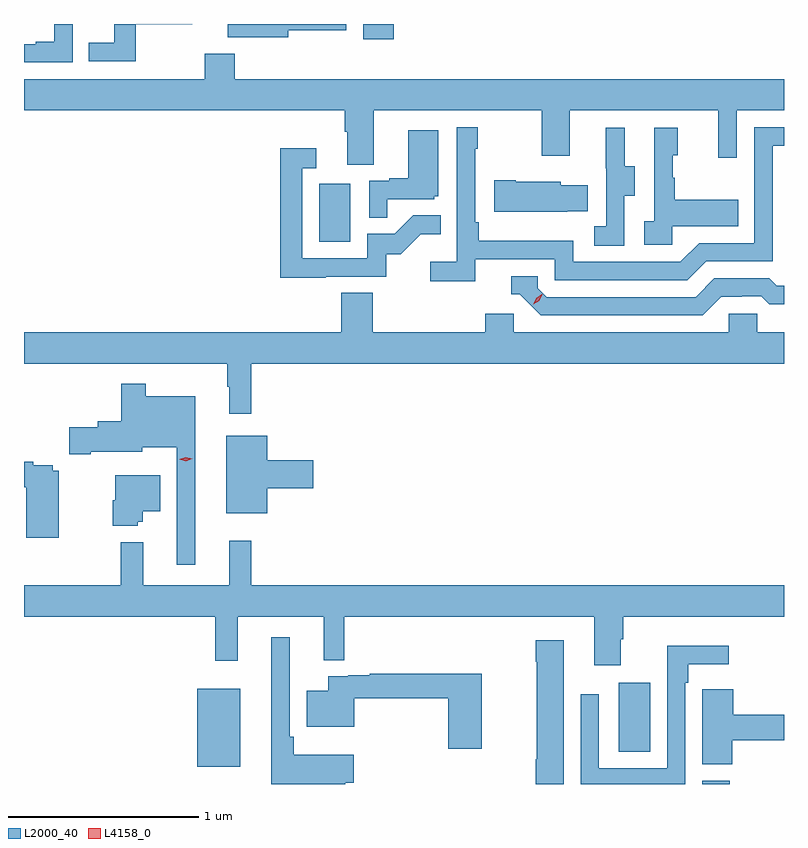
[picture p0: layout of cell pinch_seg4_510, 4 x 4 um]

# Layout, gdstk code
import gdstk
lib = gdstk.Library(unit=1e-6, precision=1e-09)
def R(c, l, rs):  # rectangles x0, y0, x1, y1
    for r in rs: c.add(gdstk.rectangle(r[:2], r[2:], *l))
def P(c, l, *ps):  # polygons
    for p in ps: c.add(gdstk.Polygon(p, *l))
L2000_40 = (2000, 40)
L4158_0 = (4158, 0)

pinch_seg4_510 = lib.new_cell('pinch_seg4_510')
R(pinch_seg4_510, L2000_40, [(1000.28,749.319,1000.424,749.337), (997.622,749.411,997.849,749.821), (999.839,749.488,1000.006,749.851), (998.264,752.172,998.428,752.479), (998.495,753.24,998.656,753.319)])
P(pinch_seg4_510, L2000_40, [(996.966,753.319),(996.869,753.319),(996.869,753.226),(996.773,753.226),(996.773,753.213),(996.71,753.213),(996.71,753.117),(996.966,753.117)],
  [(997.297,753.318),(997.595,753.318),(997.595,753.319),(997.186,753.319),(997.186,753.22),(997.051,753.22),(997.051,753.123),(997.297,753.123)],
  [(998.101,753.286),(998.406,753.286),(998.406,753.319),(997.783,753.319),(997.783,753.248),(998.101,753.248)],
  [(998.551,752.864),(999.436,752.864),(999.436,752.625),(999.583,752.625),(999.583,752.864),(1000.364,752.864),(1000.364,752.616),(1000.461,752.616),(1000.461,752.864),(1000.71,752.864),(1000.71,753.028),(997.82,753.028),(997.82,753.163),(997.66,753.163),(997.66,753.028),(996.71,753.028),(996.71,752.864),(998.399,752.864),(998.399,752.752),(998.411,752.752),(998.411,752.578),(998.551,752.578)],
  [(999.086,752.082),(999.504,752.082),(999.504,751.971),(1000.201,751.971),(1000.3,752.07),(1000.65,752.07),(1000.65,752.679),(1000.71,752.679),(1000.71,752.775),(1000.554,752.775),(1000.554,752.166),(1000.263,752.166),(1000.164,752.067),(999.6,752.067),(999.6,752.179),(999.104,752.179),(999.104,752.275),(999.084,752.275),(999.084,752.663),(999.097,752.663),(999.097,752.776),(998.988,752.776),(998.988,752.068),(998.847,752.068),(998.847,751.966),(999.086,751.966)],
  [(1000.122,752.255),(1000.469,752.255),(1000.469,752.395),(1000.135,752.395),(1000.135,752.51),(1000.125,752.51),(1000.125,752.628),(1000.15,752.628),(1000.15,752.773),(1000.026,752.773),(1000.026,752.282),(999.975,752.282),(999.975,752.157),(1000.122,752.157)],
  [(999.87,752.416),(999.925,752.416),(999.925,752.571),(999.871,752.571),(999.871,752.773),(999.773,752.773),(999.773,752.559),(999.774,752.559),(999.774,752.255),(999.711,752.255),(999.711,752.152),(999.87,752.152)],
  [(998.621,752.397),(998.868,752.397),(998.868,752.412),(998.89,752.412),(998.89,752.761),(998.732,752.761),(998.732,752.506),(998.633,752.506),(998.633,752.493),(998.526,752.493),(998.526,752.299),(998.621,752.299)],
  [(998.297,751.989),(998.616,751.989),(998.616,752.106),(998.692,752.106),(998.799,752.213),(998.903,752.213),(998.903,752.312),(998.759,752.312),(998.661,752.214),(998.517,752.214),(998.517,752.085),(998.175,752.085),(998.175,752.559),(998.248,752.559),(998.248,752.665),(998.059,752.665),(998.059,751.984),(998.297,751.984)],
  [(999.569,752.333),(999.677,752.333),(999.677,752.47),(999.534,752.47),(999.534,752.488),(999.298,752.488),(999.298,752.496),(999.186,752.496),(999.186,752.33),(999.569,752.33)],
  [(1000.381,751.884),(1000.488,751.884),(1000.488,751.887),(1000.591,751.887),(1000.633,751.845),(1000.71,751.845),(1000.71,751.941),(1000.672,751.941),(1000.633,751.98),(1000.344,751.98),(1000.245,751.881),(999.462,751.881),(999.414,751.929),(999.414,751.992),(999.275,751.992),(999.275,751.896),(999.318,751.896),(999.429,751.785),(1000.282,751.785)],
  [(997.907,751.532),(1000.71,751.532),(1000.71,751.696),(1000.569,751.696),(1000.569,751.794),(1000.419,751.794),(1000.419,751.696),(999.288,751.696),(999.288,751.794),(999.137,751.794),(999.137,751.696),(998.546,751.696),(998.546,751.904),(998.381,751.904),(998.381,751.696),(996.71,751.696),(996.71,751.532),(997.779,751.532),(997.779,751.409),(997.79,751.409),(997.79,751.269),(997.907,751.269)],
  [(997.612,751.36),(997.351,751.36),(997.351,751.426),(997.222,751.426),(997.222,751.227),(997.097,751.227),(997.097,751.197),(996.948,751.197),(996.948,751.055),(997.06,751.055),(997.06,751.067),(997.332,751.067),(997.332,751.091),(997.515,751.091),(997.515,750.474),(997.612,750.474)],
  [(997.99,750.875),(998.233,750.875),(998.233,751.022),(997.99,751.022),(997.99,751.153),(997.775,751.153),(997.775,750.743),(997.99,750.743)],
  [(996.892,750.967),(996.862,750.967),(996.862,750.996),(996.758,750.996),(996.758,751.016),(996.71,751.016),(996.71,750.88),(996.722,750.88),(996.722,750.615),(996.892,750.615)],
  [(997.308,750.699),(997.336,750.699),(997.336,750.755),(997.426,750.755),(997.426,750.943),(997.19,750.943),(997.19,750.813),(997.178,750.813),(997.178,750.677),(997.308,750.677)],
  [(999.85,750.08),(999.863,750.08),(999.863,750.2),(1000.71,750.2),(1000.71,750.364),(997.907,750.364),(997.907,750.598),(997.79,750.598),(997.79,750.364),(997.337,750.364),(997.337,750.592),(997.219,750.592),(997.219,750.364),(996.71,750.364),(996.71,750.2),(997.717,750.2),(997.717,749.967),(997.835,749.967),(997.835,750.2),(998.288,750.2),(998.288,749.971),(998.396,749.971),(998.396,750.2),(999.71,750.2),(999.71,749.943),(999.85,749.943)],
  [(998.402,749.326),(998.446,749.326),(998.446,749.473),(998.129,749.473),(998.129,749.569),(998.109,749.569),(998.109,750.091),(998.012,750.091),(998.012,749.319),(998.402,749.319)],
  [(999.55,750.076),(999.404,750.076),(999.404,749.963),(999.409,749.963),(999.409,749.448),(999.404,749.448),(999.404,749.319),(999.55,749.319)],
  [(1000.191,749.852),(1000.207,749.852),(1000.207,749.948),(1000.42,749.948),(1000.42,750.046),(1000.095,750.046),(1000.095,749.403),(999.735,749.403),(999.735,749.791),(999.639,749.791),(999.639,749.319),(1000.191,749.319)],
  [(999.12,749.899),(998.53,749.899),(998.53,749.892),(998.416,749.892),(998.416,749.886),(998.312,749.886),(998.312,749.809),(998.198,749.809),(998.198,749.621),(998.447,749.621),(998.447,749.77),(998.942,749.77),(998.942,749.505),(999.12,749.505)],
  [(1000.437,749.548),(1000.71,749.548),(1000.71,749.684),(1000.442,749.684),(1000.442,749.818),(1000.281,749.818),(1000.281,749.705),(1000.28,749.705),(1000.28,749.422),(1000.437,749.422)])
P(pinch_seg4_510, L4158_0, [(997.561,751.019),(997.526,751.027),(997.525,751.027),(997.526,751.027),(997.56,751.039),(997.596,751.031),(997.596,751.031),(997.596,751.031)],
  [(999.39,751.843),(999.39,751.844),(999.406,751.876),(999.436,751.896),(999.437,751.896),(999.437,751.896),(999.421,751.863),(999.391,751.843)])

lib.write_gds('pinch_seg4_510.gds')
